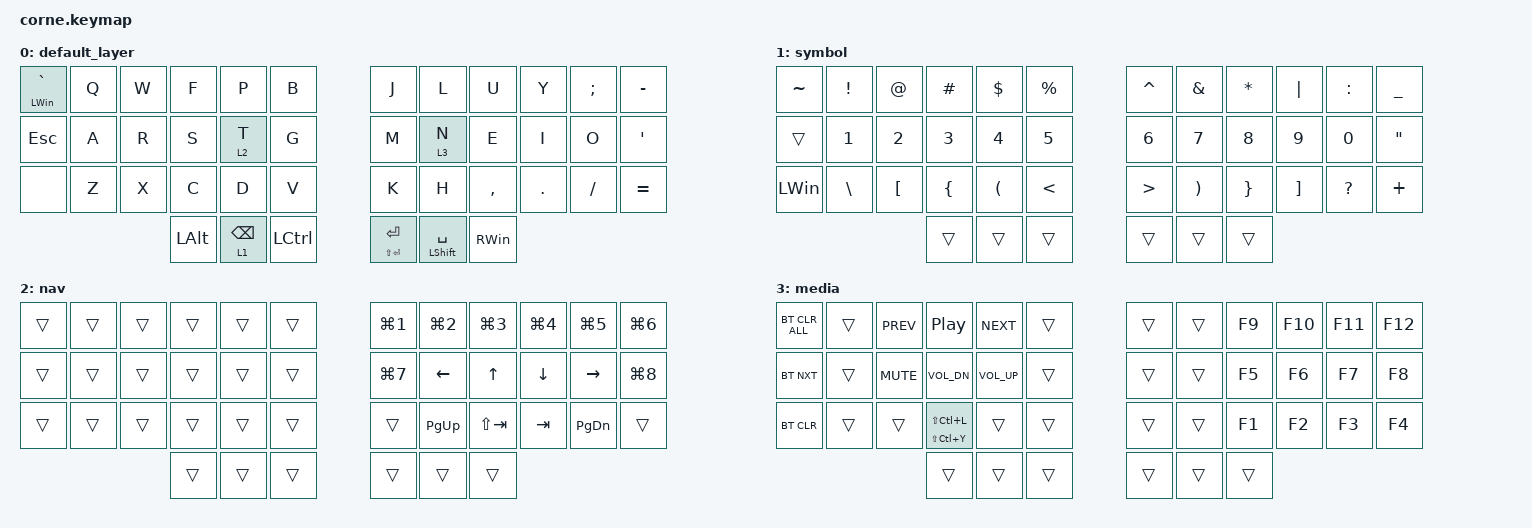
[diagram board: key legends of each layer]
/*
 * Copyright (c) 2020 The ZMK Contributors
 *
 * SPDX-License-Identifier: MIT
 */

#include <behaviors.dtsi>
#include <dt-bindings/zmk/bt.h>
#include <dt-bindings/zmk/keys.h>

// Layers

#define DEFAULT    0

// Constants

#define TAP_TERM_MS 175

// Key Names

#define PREV_WIN LS(LA(LC(TAB)))
#define NEXT_WIN LA(LC(TAB))

&mt { tapping-term-ms = <164>; };

/ {
    combos {
        compatible = "zmk,combos";

        esc {
            bindings = <&kp ESCAPE>;
            key-positions = <16 19>;
        };

        DevTools {
            bindings = <&kp LS(LC(I))>;
            key-positions = <1 4>;
        };
    };

    behaviors {
        bck_sym_hld: bck_sym_hld {
            compatible = "zmk,behavior-tap-dance";
            label = "BCK_SYM_HLD";
            #binding-cells = <0>;
            bindings = <&lt 1 BACKSPACE>, <&kp BACKSPACE>;

            tapping-term-ms = <164>;
        };

        spc_shft_hld: spc_shft_hld {
            compatible = "zmk,behavior-tap-dance";
            label = "SPC_SHFT_HLD";
            #binding-cells = <0>;
            bindings = <&mt LEFT_SHIFT SPACE>, <&kp SPACE>;

            tapping-term-ms = <164>;
        };

        ht_qt: ht_qt {
            compatible = "zmk,behavior-hold-tap";
            label = "HT_QT";
            bindings = <&kp>, <&kp>;

            #binding-cells = <2>;
            tapping-term-ms = <164>;
            quick-tap-ms = <164>;
            require-prior-idle-ms = <100>;
            flavor = "tap-preferred";
        };

        lt_qt: lt_qt {
            compatible = "zmk,behavior-hold-tap";
            label = "LT_QT";
            bindings = <&mo>, <&kp>;

            #binding-cells = <2>;
            tapping-term-ms = <164>;
            quick-tap-ms = <164>;
            require-prior-idle-ms = <100>;
            flavor = "tap-preferred";
        };

        lt_hr: lt_hr {
            compatible = "zmk,behavior-hold-tap";
            label = "LT_HR";
            bindings = <&mo>, <&kp>;

            #binding-cells = <2>;
            require-prior-idle-ms = <100>;
            tapping-term-ms = <164>;
            flavor = "tap-preferred";
        };
    };

    keymap {
        compatible = "zmk,keymap";

        default_layer {
            bindings = <
&mt LEFT_WIN GRAVE  &kp Q  &kp W  &kp F         &kp P               &kp B      &kp J            &kp L                    &kp U          &kp Y    &kp SEMI   &kp MINUS
&kp ESCAPE          &kp A  &kp R  &kp S         &lt_hr 2 T          &kp G      &kp M            &lt_hr 3 N               &kp E          &kp I    &kp O      &kp SQT
&none               &kp Z  &kp X  &kp C         &kp D               &kp V      &kp K            &kp H                    &kp COMMA      &kp DOT  &kp SLASH  &kp EQUAL
                                  &kp LEFT_ALT  &lt_qt 1 BACKSPACE  &kp LCTRL  &mt LS(RET) RET  &ht_qt LEFT_SHIFT SPACE  &kp RIGHT_WIN
            >;
        };

        symbol {
            bindings = <
&kp TILDE  &kp EXCLAMATION  &kp AT_SIGN  &kp HASH        &kp DOLLAR            &kp PERCENT    &kp CARET         &kp AMPERSAND          &kp ASTERISK     &kp PIPE  &kp COLON     &kp UNDERSCORE
&trans     &kp N1           &kp N2       &kp N3          &kp N4                &kp N5         &kp N6            &kp N7                 &kp N8           &kp N9    &kp N0        &kp DOUBLE_QUOTES
&kp LWIN   &kp BSLH         &kp LBKT     &kp LEFT_BRACE  &kp LEFT_PARENTHESIS  &kp LESS_THAN  &kp GREATER_THAN  &kp RIGHT_PARENTHESIS  &kp RIGHT_BRACE  &kp RBKT  &kp QUESTION  &kp PLUS
                                         &trans          &trans                &trans         &trans            &trans                 &trans
            >;
        };

        nav {
            bindings = <
&trans  &trans  &trans  &trans  &trans  &trans  &kp LG(NUMBER_1)  &kp LG(NUMBER_2)  &kp LG(N3)   &kp LG(N4)  &kp LG(N5)  &kp LG(N6)
&trans  &trans  &trans  &trans  &trans  &trans  &kp LG(N7)        &kp LEFT          &kp UP       &kp DOWN    &kp RIGHT   &kp LG(N8)
&trans  &trans  &trans  &trans  &trans  &trans  &trans            &kp PG_UP         &kp LS(TAB)  &kp TAB     &kp PG_DN   &trans
                        &trans  &trans  &trans  &trans            &trans            &trans
            >;
        };

        media {
            bindings = <
&bt BT_CLR_ALL  &trans  &kp C_PREV  &kp C_PLAY_PAUSE         &kp C_NEXT    &trans  &trans  &trans  &kp F9  &kp F10  &kp F11  &kp F12
&bt BT_NXT      &trans  &kp C_MUTE  &kp C_VOL_DN             &kp C_VOL_UP  &trans  &trans  &trans  &kp F5  &kp F6   &kp F7   &kp F8
&bt BT_CLR      &trans  &trans      &mt LS(LC(Y)) LS(LC(L))  &trans        &trans  &trans  &trans  &kp F1  &kp F2   &kp F3   &kp F4
                                    &trans                   &trans        &trans  &trans  &trans  &trans
            >;
        };
    };
};

// Template:  ┌  ┘ │ ┤ └ ┴ ┬ ├ ─ ┼ ┐
// ┌───────────────┬───────────────┬───────────────┬───────────────┬───────────────┬───────────────┐  ┌───────────────┬───────────────┬───────────────┬───────────────┬───────────────┬───────────────┐
// ├───────────────┼───────────────┼───────────────┼───────────────┼───────────────┼───────────────┤  ├───────────────┼───────────────┼───────────────┼───────────────┼───────────────┼───────────────┤
// ├───────────────┼───────────────┼───────────────┼───────────────┼───────────────┼───────────────┤  ├───────────────┼───────────────┼───────────────┼───────────────┼───────────────┼───────────────┤
// └───────────────┴───────────────┴───────────────┼───────────────┼───────────────┼───────────────┤  ├───────────────┼───────────────┼───────────────┼───────────────┴───────────────┴───────────────┘
//                                                 └───────────────┴───────────────┴───────────────┘  └───────────────┴───────────────┴───────────────┘
